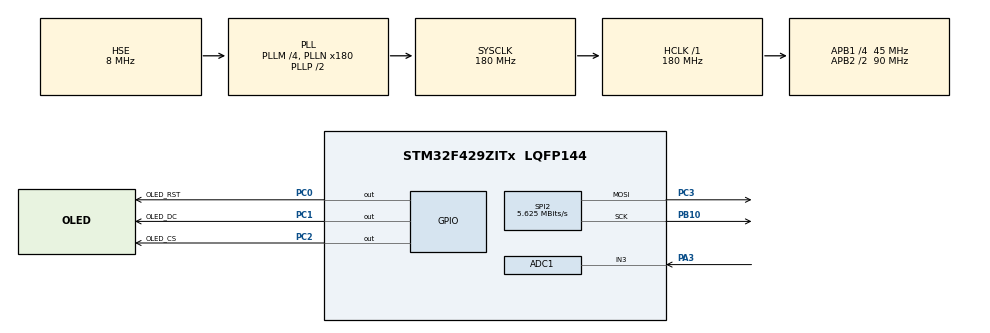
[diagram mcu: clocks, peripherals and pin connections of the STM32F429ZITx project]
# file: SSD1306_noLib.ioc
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ADC1.Channel-0\#ChannelRegularConversion=ADC_CHANNEL_3
ADC1.DiscontinuousConvMode=ENABLE
ADC1.NbrOfConversionFlag=1
ADC1.Rank-0\#ChannelRegularConversion=1
ADC1.SamplingTime-0\#ChannelRegularConversion=ADC_SAMPLETIME_3CYCLES
ADC1.ScanConvMode=ENABLE
ADC1.master=1
Mcu.Family=STM32F4
Mcu.Name=STM32F429ZITx
Mcu.Package=LQFP144
NVIC.PriorityGroup=NVIC_PRIORITYGROUP_4
PA3.Signal=ADCx_IN3
PB10.Mode=TX_Only_Simplex_Unidirect_Master
PB10.Signal=SPI2_SCK
PC0.GPIO_Label=OLED_RST
PC0.GPIO_PuPd=GPIO_PULLUP
PC0.GPIO_Speed=GPIO_SPEED_FREQ_HIGH
PC0.PinState=GPIO_PIN_SET
PC0.Signal=GPIO_Output
PC1.GPIO_Label=OLED_DC
PC1.GPIO_PuPd=GPIO_PULLUP
PC1.GPIO_Speed=GPIO_SPEED_FREQ_HIGH
PC1.PinState=GPIO_PIN_SET
PC1.Signal=GPIO_Output
PC2.GPIO_Label=OLED_CS
PC2.GPIO_PuPd=GPIO_PULLUP
PC2.GPIO_Speed=GPIO_SPEED_FREQ_HIGH
PC2.PinState=GPIO_PIN_SET
PC2.Signal=GPIO_Output
PC3.Mode=TX_Only_Simplex_Unidirect_Master
PC3.Signal=SPI2_MOSI
PH0/OSC_IN.Mode=HSE-External-Oscillator
PH0/OSC_IN.Signal=RCC_OSC_IN
PH1/OSC_OUT.Mode=HSE-External-Oscillator
PH1/OSC_OUT.Signal=RCC_OSC_OUT
ProjectManager.HeapSize=0x200
ProjectManager.StackSize=0x400
ProjectManager.TargetToolchain=STM32CubeIDE
RCC.48MHZClocksFreq_Value=90000000
RCC.AHBFreq_Value=180000000
RCC.APB1CLKDivider=RCC_HCLK_DIV4
RCC.APB1Freq_Value=45000000
RCC.APB1TimFreq_Value=90000000
RCC.APB2CLKDivider=RCC_HCLK_DIV2
RCC.APB2Freq_Value=90000000
RCC.APB2TimFreq_Value=180000000
RCC.CortexFreq_Value=180000000
RCC.HCLKFreq_Value=180000000
RCC.HSE_VALUE=8000000
RCC.HSI_VALUE=16000000
RCC.LSE_VALUE=32768
RCC.PLLM=4
RCC.PLLN=180
RCC.PLLSourceVirtual=RCC_PLLSOURCE_HSE
RCC.SYSCLKFreq_VALUE=180000000
RCC.SYSCLKSource=RCC_SYSCLKSOURCE_PLLCLK
RCC.VCOOutputFreq_Value=360000000
SH.ADCx_IN3.0=ADC1_IN3,IN3
SPI2.BaudRatePrescaler=SPI_BAUDRATEPRESCALER_8
SPI2.CalculateBaudRate=5.625 MBits/s
SPI2.Direction=SPI_DIRECTION_2LINES
SPI2.Mode=SPI_MODE_MASTER
SPI2.VirtualType=VM_MASTER
board=custom

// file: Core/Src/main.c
/* USER CODE BEGIN Header */
/**
  ******************************************************************************
  * @file           : main.c
  * @brief          : Main program body
  ******************************************************************************
  * @attention
  *
  * Copyright (c) 2023 STMicroelectronics.
  * All rights reserved.
  *
  * This software is licensed under terms that can be found in the LICENSE file
  * in the root directory of this software component.
  * If no LICENSE file comes with this software, it is provided AS-IS.
  *
  ******************************************************************************
  */
/* USER CODE END Header */
#include "main.h"

/* USER CODE BEGIN Includes */
#include "stdio.h"
#include "stdlib.h"
#include "string.h"
/* USER CODE END Includes */

ADC_HandleTypeDef hadc1;

SPI_HandleTypeDef hspi2;

/* USER CODE BEGIN PV */

typedef struct _point
  {
	  int x;
	  int y;
  }Point;

int i=1;
Point point[128];
int adcVal;

uint8_t buffer[128*8]=
{
		0xff, 0xff, 0xff, 0xff, 0xff, 0xff, 0xff, 0xff, 0xff, 0xff, 0xff, 0xff, 0xff, 0xff, 0xff, 0xff,
								0xff, 0xff, 0xff, 0xff, 0xff, 0xff, 0xff, 0xff, 0xff, 0xff, 0xff, 0xff, 0xff, 0xff, 0xff, 0xff,
								0xff, 0xff, 0xff, 0xff, 0xff, 0xff, 0xff, 0xff, 0xff, 0xff, 0xff, 0xff, 0xff, 0xff, 0xff, 0xff,
								0xff, 0xff, 0xff, 0xff, 0xff, 0xff, 0xff, 0xff, 0xff, 0xff, 0xff, 0xff, 0xff, 0xff, 0xff, 0xff,
								0xff, 0xff, 0xff, 0xff, 0xff, 0xff, 0xff, 0xff, 0xff, 0xff, 0xff, 0xff, 0xff, 0xff, 0xff, 0xff,
								0xff, 0xff, 0xff, 0xff, 0xff, 0xff, 0xff, 0xff, 0xff, 0xff, 0xff, 0xff, 0xff, 0xff, 0xff, 0xff,
								0xff, 0xff, 0xff, 0xff, 0xff, 0xff, 0xff, 0xff, 0xff, 0xff, 0xff, 0xff, 0xff, 0xff, 0xff, 0xff,
								0xff, 0xff, 0xff, 0xf7, 0xff, 0xfb, 0xff, 0xff, 0xff, 0xff, 0xff, 0xff, 0xff, 0xff, 0xff, 0xff,
								0xff, 0xff, 0xff, 0xf7, 0xff, 0xfb, 0xff, 0xff, 0xff, 0xff, 0xff, 0xff, 0xff, 0xff, 0xff, 0xff,
								0xff, 0xff, 0x7f, 0xf7, 0xff, 0xf7, 0xff, 0xff, 0xff, 0xff, 0xff, 0xff, 0xff, 0xff, 0xff, 0xff,
								0xff, 0xff, 0x7f, 0xf7, 0xff, 0xf7, 0xff, 0xff, 0xff, 0xff, 0xff, 0x3f, 0x3f, 0xff, 0xff, 0xff,
								0xff, 0xff, 0x3f, 0xf7, 0xff, 0xf7, 0xff, 0xff, 0xff, 0xff, 0xff, 0x3f, 0x3f, 0xff, 0xff, 0xff,
								0xff, 0xff, 0xbf, 0xff, 0xff, 0xef, 0xff, 0xff, 0xf7, 0xff, 0xfe, 0x3e, 0x3f, 0xff, 0xff, 0xff,
								0xff, 0xff, 0xcf, 0xff, 0xff, 0xef, 0xff, 0xff, 0xe3, 0xff, 0xfe, 0x3e, 0x3f, 0xff, 0xff, 0xff,
								0xff, 0xff, 0xe7, 0xff, 0xff, 0xef, 0xff, 0x8f, 0xe3, 0xff, 0xfe, 0x3e, 0x3f, 0xff, 0xff, 0xff,
								0xff, 0xff, 0xf9, 0xff, 0xff, 0xdf, 0xff, 0x8f, 0xe3, 0xff, 0x7c, 0x3c, 0x3f, 0xff, 0xff, 0xff,
								0xff, 0xff, 0xfe, 0xff, 0xff, 0xdf, 0xe7, 0x8f, 0xe3, 0xfc, 0x3c, 0x7c, 0x7f, 0xff, 0xff, 0xff,
								0xff, 0xff, 0xff, 0x7f, 0xff, 0xff, 0xcf, 0xc7, 0xe3, 0xf8, 0x3c, 0x7c, 0x7f, 0xdf, 0xff, 0xff,
								0xff, 0xff, 0xff, 0xff, 0x8f, 0xff, 0x9f, 0xc7, 0xe3, 0xf9, 0x3c, 0x7c, 0x7e, 0x0f, 0xff, 0xff,
								0xff, 0xff, 0xff, 0xff, 0x07, 0xfe, 0x7f, 0x86, 0x03, 0xf1, 0x3c, 0x7c, 0x7c, 0x27, 0xff, 0xff,
								0xff, 0xff, 0xff, 0xff, 0x07, 0xfe, 0xff, 0xc0, 0x03, 0xf3, 0x3c, 0x7c, 0x78, 0xe7, 0xff, 0xff,
								0xff, 0xff, 0xff, 0xff, 0x03, 0xff, 0xff, 0xc7, 0xc3, 0xe2, 0x38, 0x78, 0x79, 0xe7, 0xff, 0xff,
								0xff, 0xff, 0xff, 0xfe, 0x03, 0xff, 0xff, 0xc7, 0xc3, 0xe0, 0x78, 0x78, 0x79, 0xe7, 0xff, 0xff,
								0xff, 0xe0, 0x7f, 0xfe, 0x03, 0xff, 0xff, 0xc7, 0xc3, 0x00, 0xf8, 0x78, 0x71, 0xe7, 0xff, 0xff,
								0xff, 0xff, 0x9f, 0xfc, 0x01, 0xff, 0xff, 0xc7, 0xc3, 0x03, 0xf8, 0x78, 0x71, 0xcf, 0xff, 0xff,
								0xff, 0xff, 0xff, 0xfc, 0x01, 0xff, 0xff, 0xc7, 0xc3, 0xc7, 0xf0, 0x70, 0x71, 0x8f, 0xff, 0xff,
								0xff, 0xff, 0xff, 0xfc, 0x01, 0xff, 0xff, 0xc7, 0xc3, 0xc7, 0xe0, 0x60, 0x71, 0x9f, 0xff, 0xff,
								0xff, 0xff, 0xff, 0xf8, 0x00, 0xff, 0xff, 0xc7, 0xc7, 0xc3, 0xc0, 0x40, 0x71, 0x3f, 0xff, 0xff,
								0xff, 0xff, 0xff, 0xf8, 0x20, 0xff, 0xff, 0xef, 0xc7, 0xe3, 0xe8, 0x68, 0x70, 0x3f, 0xff, 0xff,
								0xff, 0xff, 0xff, 0xf8, 0x20, 0xff, 0xff, 0xff, 0xc7, 0xe1, 0xfc, 0x7c, 0x7c, 0xff, 0xff, 0xff,
								0xff, 0xff, 0x00, 0x00, 0x20, 0x00, 0x07, 0xff, 0xcf, 0xf0, 0x7e, 0xfe, 0xff, 0xff, 0xff, 0xff,
								0xff, 0xfe, 0x00, 0x00, 0x70, 0x00, 0x03, 0xff, 0xff, 0xfd, 0xff, 0xff, 0xcf, 0xfd, 0xff, 0xff,
								0xff, 0xfc, 0x00, 0x00, 0x70, 0x00, 0x01, 0xff, 0xff, 0xff, 0xff, 0xff, 0xcf, 0xf9, 0xff, 0xff,
								0xff, 0xfc, 0x00, 0x00, 0x70, 0x00, 0x01, 0xff, 0xff, 0xff, 0xff, 0xff, 0x8f, 0xf9, 0xff, 0xff,
								0xff, 0xfe, 0x00, 0x00, 0xf8, 0x00, 0x03, 0xff, 0xff, 0xff, 0xff, 0xff, 0x8f, 0xf9, 0xff, 0xff,
								0xff, 0xff, 0x00, 0x7f, 0xff, 0xf0, 0x07, 0xff, 0xff, 0xff, 0xff, 0xff, 0x9f, 0xf9, 0xff, 0xff,
								0xff, 0xff, 0x80, 0x3f, 0xff, 0xe0, 0x0f, 0xff, 0xff, 0xff, 0xff, 0xff, 0x9f, 0xf9, 0xff, 0xff,
								0xff, 0xff, 0xe0, 0x0f, 0xff, 0xc0, 0x3f, 0xff, 0xff, 0xff, 0x1f, 0xff, 0x1f, 0xf9, 0xff, 0xff,
								0xff, 0xff, 0xf0, 0x07, 0xff, 0x00, 0x7f, 0xfc, 0xff, 0xde, 0x0c, 0xff, 0x1f, 0xf9, 0xff, 0xff,
								0xff, 0xff, 0xfc, 0x03, 0xfe, 0x01, 0xff, 0xfc, 0xf3, 0x9c, 0xec, 0xe3, 0x1f, 0xf9, 0xff, 0xff,
								0xff, 0xff, 0xfe, 0x03, 0xfe, 0x03, 0xff, 0xfc, 0xe3, 0x9c, 0xec, 0xc7, 0x1f, 0x91, 0xff, 0xff,
								0xff, 0xff, 0xff, 0x03, 0xfe, 0x07, 0xff, 0xfc, 0x61, 0x99, 0xcc, 0x1f, 0x1f, 0x01, 0xff, 0xff,
								0xff, 0xff, 0xff, 0x07, 0xff, 0x07, 0xff, 0xfc, 0x61, 0xb9, 0xcc, 0x7f, 0x1e, 0x71, 0xff, 0xff,
								0xff, 0xff, 0xff, 0x07, 0x8f, 0x07, 0xff, 0xfc, 0x61, 0x39, 0x9c, 0x7e, 0x1c, 0xf1, 0xff, 0xff,
								0xff, 0xff, 0xfe, 0x06, 0x03, 0x03, 0xff, 0xfe, 0x49, 0x39, 0x3c, 0x7c, 0x1c, 0xf1, 0xff, 0xff,
								0xff, 0xff, 0x3e, 0x0c, 0x01, 0x83, 0xff, 0xfe, 0x58, 0x78, 0x3c, 0x79, 0x1c, 0xf1, 0xff, 0xff,
								0xff, 0xfe, 0x7e, 0x00, 0x00, 0x03, 0xff, 0xfe, 0x18, 0x7c, 0x7e, 0x7f, 0x1c, 0x01, 0xff, 0xff,
								0xff, 0xfc, 0xfc, 0x00, 0x00, 0x01, 0xff, 0xfe, 0x7c, 0x7f, 0xfe, 0xff, 0xbe, 0x03, 0xff, 0xff,
								0xff, 0xfb, 0xfc, 0x00, 0x20, 0x01, 0xff, 0xff, 0xfc, 0xff, 0xff, 0xff, 0xff, 0xff, 0xff, 0xff,
								0xff, 0xf3, 0xfc, 0x00, 0x70, 0x01, 0xff, 0xff, 0xff, 0xff, 0xff, 0xff, 0xff, 0xff, 0xff, 0xff,
								0xff, 0xe7, 0xf8, 0x01, 0xfc, 0x00, 0xff, 0xff, 0xff, 0xff, 0xff, 0xff, 0xff, 0xff, 0xff, 0xff,
								0xff, 0xcf, 0xf8, 0x03, 0xfe, 0x00, 0xff, 0xff, 0xff, 0xff, 0xff, 0xff, 0xff, 0xff, 0xff, 0xff,
								0xff, 0xff, 0xf8, 0x0f, 0xff, 0x80, 0xff, 0xff, 0xff, 0xff, 0xff, 0xff, 0xff, 0xff, 0xff, 0xff,
								0xff, 0xff, 0xf8, 0x3f, 0xff, 0xe0, 0xff, 0xff, 0xff, 0xff, 0xff, 0xff, 0xff, 0xff, 0xff, 0xff,
								0xff, 0xff, 0xfc, 0x7f, 0xff, 0xf1, 0xff, 0xff, 0xff, 0xff, 0xff, 0xff, 0xff, 0xff, 0xff, 0xff,
								0xff, 0xff, 0xff, 0xff, 0xff, 0xff, 0xff, 0xff, 0xff, 0xff, 0xff, 0xff, 0xff, 0xff, 0xff, 0xff,
								0xff, 0xff, 0xff, 0xff, 0xff, 0xff, 0xff, 0xff, 0xff, 0xff, 0xff, 0xff, 0xff, 0xff, 0xff, 0xff,
								0xff, 0xff, 0xff, 0xff, 0xff, 0xff, 0xff, 0xff, 0xff, 0xff, 0xff, 0xff, 0xff, 0xff, 0xff, 0xff,
								0xff, 0xff, 0xff, 0xff, 0xff, 0xff, 0xff, 0xff, 0xff, 0xff, 0xff, 0xff, 0xff, 0xff, 0xff, 0xff,
								0xff, 0xff, 0xff, 0xff, 0xff, 0xff, 0xff, 0xff, 0xff, 0xff, 0xff, 0xff, 0xff, 0xff, 0xff, 0xff,
								0xff, 0xff, 0xff, 0xff, 0xff, 0xff, 0xff, 0xff, 0xff, 0xff, 0xff, 0xff, 0xff, 0xff, 0xff, 0xff,
								0xff, 0xff, 0xff, 0xff, 0xff, 0xff, 0xff, 0xff, 0xff, 0xff, 0xff, 0xff, 0xff, 0xff, 0xff, 0xff,
								0xff, 0xff, 0xff, 0xff, 0xff, 0xff, 0xff, 0xff, 0xff, 0xff, 0xff, 0xff, 0xff, 0xff, 0xff, 0xff,
								0xff, 0xff, 0xff, 0xff, 0xff, 0xff, 0xff, 0xff, 0xff, 0xff, 0xff, 0xff, 0xff, 0xff, 0xff, 0xff
};

uint8_t init[10]={
		0xAE, // Display off
		  0x8D, // Charge pump
		  0x14,
		  0x20, // Memory mode
		  0x00, // Horizontal addressing
		  0xA1, // 0xA0/0xA1 flip horizontally
		  0xC8, // 0xC0/0xC8 flip vertically
		  //0xD9, // Set pre charge
		  //0xF1,
		  //0xDB, // Set vcom detect
		  0x40,
		  0x45,
		  0xAF  // Display on
};

uint8_t display[6]={
		0x21,
		0,
		127,
		0x22,
		0,
		7
};

/* USER CODE END PV */

void SystemClock_Config(void);
static void MX_GPIO_Init(void);
static void MX_ADC1_Init(void);
static void MX_SPI2_Init(void);

/* USER CODE BEGIN 0 */
void CS_Select()
{
	HAL_GPIO_WritePin(OLED_CS_GPIO_Port,OLED_CS_Pin,GPIO_PIN_RESET);
}

void CS_Deselect()
{
	HAL_GPIO_WritePin(OLED_CS_GPIO_Port,OLED_CS_Pin,GPIO_PIN_SET);
}

void Data_Select()
{
	HAL_GPIO_WritePin(OLED_DC_GPIO_Port,OLED_DC_Pin,GPIO_PIN_SET);
}

void Command_Select()
{
	HAL_GPIO_WritePin(OLED_DC_GPIO_Port,OLED_DC_Pin,GPIO_PIN_RESET);
}

void byteTransmit(uint8_t* ptr,int length)
{
	HAL_SPI_Transmit(&hspi2,ptr,length,100);
}

void initDisplay()
{
	Command_Select();
	CS_Select();
	byteTransmit(init,sizeof(init));
	CS_Deselect();
	Data_Select();
}

void displayBuffer()
{
	Data_Select();
	CS_Select();
	byteTransmit(buffer,sizeof(buffer));
	CS_Deselect();
}

signed char x0;
signed char y0;

void plotPoint(int x, int y) {
  int row = 63 - y;
  int col = x;
  int page = row>>3;
  //int pix_y=1<<(row-(page<<3)-1);

  int bit = row & 0x07;
  // Set correct bit in slice buffer
  buffer[page*128 + col] |= 1<<bit;
  //buffer[page*128+col]|=pix_y;
  displayBuffer();
}

void moveTo(int x1, int y1) {
  x0 = x1;
  y0 = y1;
}

void drawTo(int x1, int y1) {
  int sx, sy, e2, err;
  int dx = abs(x1 - x0);
  int dy = abs(y1 - y0);
  if (x0 < x1) sx = 1; else sx = -1;
  if (y0 < y1) sy = 1; else sy = -1;
  err = dx - dy;
  for (;;) {
    plotPoint(x0, y0);
    if (x0==x1 && y0==y1) return;
    e2 = err<<1;
    if (e2 > -dy) {
      err = err - dy;
      x0 = x0 + sx;
    }
    if (e2 < dx) {
      err = err + dx;
      y0 = y0 + sy;
    }
  }
  displayBuffer();
}

/* USER CODE END 0 */

int main(void)
{

  /* MCU Configuration--------------------------------------------------------*/

  /* Reset of all peripherals, Initializes the Flash interface and the Systick. */
  HAL_Init();

  /* Configure the system clock */
  SystemClock_Config();

  /* Initialize all configured peripherals */
  MX_GPIO_Init();
  MX_ADC1_Init();
  MX_SPI2_Init();
  /* USER CODE BEGIN 2 */
  initDisplay();

  Command_Select();
  CS_Select();
  byteTransmit(display,6);
  CS_Deselect();
  /* USER CODE END 2 */

  /* Infinite loop */
  /* USER CODE BEGIN WHILE */

  point[0].x=0;
  point[0].y=point[127].y;

  x0=point[0].x;
  y0=point[0].y;
  while (1)
  {
	  memset(buffer,0,128*8);

    /* USER CODE END WHILE */
	  do{
		  HAL_ADC_Start(&hadc1);
		  HAL_ADC_PollForConversion(&hadc1,HAL_MAX_DELAY);
		  int pixel_y=(int)HAL_ADC_GetValue(&hadc1)*64/4096;

		  point[i].x=i;
		  point[i].y=pixel_y;

		  for(int j=0;j<i;j++)
		  {
			  moveTo(point[j].x,point[j].y);
			  drawTo(point[j+1].x,point[j+1].y);
		  }

		  i++;
		  if(i==128)
		  {
			  i=0;
			  break;
		  }
	  	}while(1);
  }
}

void SystemClock_Config(void)
{
  RCC_OscInitTypeDef RCC_OscInitStruct = {0};
  RCC_ClkInitTypeDef RCC_ClkInitStruct = {0};

  /** Configure the main internal regulator output voltage
  */
  __HAL_RCC_PWR_CLK_ENABLE();
  __HAL_PWR_VOLTAGESCALING_CONFIG(PWR_REGULATOR_VOLTAGE_SCALE1);

  /** Initializes the RCC Oscillators according to the specified parameters
  * in the RCC_OscInitTypeDef structure.
  */
  RCC_OscInitStruct.OscillatorType = RCC_OSCILLATORTYPE_HSE;
  RCC_OscInitStruct.HSEState = RCC_HSE_ON;
  RCC_OscInitStruct.PLL.PLLState = RCC_PLL_ON;
  RCC_OscInitStruct.PLL.PLLSource = RCC_PLLSOURCE_HSE;
  RCC_OscInitStruct.PLL.PLLM = 4;
  RCC_OscInitStruct.PLL.PLLN = 180;
  RCC_OscInitStruct.PLL.PLLP = RCC_PLLP_DIV2;
  RCC_OscInitStruct.PLL.PLLQ = 4;
  if (HAL_RCC_OscConfig(&RCC_OscInitStruct) != HAL_OK)
  {
    Error_Handler();
  }

  /** Activate the Over-Drive mode
  */
  if (HAL_PWREx_EnableOverDrive() != HAL_OK)
  {
    Error_Handler();
  }

  /** Initializes the CPU, AHB and APB buses clocks
  */
  RCC_ClkInitStruct.ClockType = RCC_CLOCKTYPE_HCLK|RCC_CLOCKTYPE_SYSCLK
                              |RCC_CLOCKTYPE_PCLK1|RCC_CLOCKTYPE_PCLK2;
  RCC_ClkInitStruct.SYSCLKSource = RCC_SYSCLKSOURCE_PLLCLK;
  RCC_ClkInitStruct.AHBCLKDivider = RCC_SYSCLK_DIV1;
  RCC_ClkInitStruct.APB1CLKDivider = RCC_HCLK_DIV4;
  RCC_ClkInitStruct.APB2CLKDivider = RCC_HCLK_DIV2;

  if (HAL_RCC_ClockConfig(&RCC_ClkInitStruct, FLASH_LATENCY_5) != HAL_OK)
  {
    Error_Handler();
  }
}

static void MX_ADC1_Init(void)
{

  ADC_ChannelConfTypeDef sConfig = {0};

  /** Configure the global features of the ADC (Clock, Resolution, Data Alignment and number of conversion)
  */
  hadc1.Instance = ADC1;
  hadc1.Init.ClockPrescaler = ADC_CLOCK_SYNC_PCLK_DIV4;
  hadc1.Init.Resolution = ADC_RESOLUTION_12B;
  hadc1.Init.ScanConvMode = ENABLE;
  hadc1.Init.ContinuousConvMode = DISABLE;
  hadc1.Init.DiscontinuousConvMode = ENABLE;
  hadc1.Init.NbrOfDiscConversion = 1;
  hadc1.Init.ExternalTrigConvEdge = ADC_EXTERNALTRIGCONVEDGE_NONE;
  hadc1.Init.ExternalTrigConv = ADC_SOFTWARE_START;
  hadc1.Init.DataAlign = ADC_DATAALIGN_RIGHT;
  hadc1.Init.NbrOfConversion = 1;
  hadc1.Init.DMAContinuousRequests = DISABLE;
  hadc1.Init.EOCSelection = ADC_EOC_SINGLE_CONV;
  if (HAL_ADC_Init(&hadc1) != HAL_OK)
  {
    Error_Handler();
  }

  /** Configure for the selected ADC regular channel its corresponding rank in the sequencer and its sample time.
  */
  sConfig.Channel = ADC_CHANNEL_3;
  sConfig.Rank = 1;
  sConfig.SamplingTime = ADC_SAMPLETIME_3CYCLES;
  if (HAL_ADC_ConfigChannel(&hadc1, &sConfig) != HAL_OK)
  {
    Error_Handler();
  }

}

static void MX_SPI2_Init(void)
{

  /* SPI2 parameter configuration*/
  hspi2.Instance = SPI2;
  hspi2.Init.Mode = SPI_MODE_MASTER;
  hspi2.Init.Direction = SPI_DIRECTION_2LINES;
  hspi2.Init.DataSize = SPI_DATASIZE_8BIT;
  hspi2.Init.CLKPolarity = SPI_POLARITY_LOW;
  hspi2.Init.CLKPhase = SPI_PHASE_1EDGE;
  hspi2.Init.NSS = SPI_NSS_SOFT;
  hspi2.Init.BaudRatePrescaler = SPI_BAUDRATEPRESCALER_2;
  hspi2.Init.FirstBit = SPI_FIRSTBIT_MSB;
  hspi2.Init.TIMode = SPI_TIMODE_DISABLE;
  hspi2.Init.CRCCalculation = SPI_CRCCALCULATION_DISABLE;
  hspi2.Init.CRCPolynomial = 10;
  if (HAL_SPI_Init(&hspi2) != HAL_OK)
  {
    Error_Handler();
  }

}

static void MX_GPIO_Init(void)
{
  GPIO_InitTypeDef GPIO_InitStruct = {0};

  /* GPIO Ports Clock Enable */
  __HAL_RCC_GPIOH_CLK_ENABLE();
  __HAL_RCC_GPIOC_CLK_ENABLE();
  __HAL_RCC_GPIOA_CLK_ENABLE();
  __HAL_RCC_GPIOB_CLK_ENABLE();

  /*Configure GPIO pin Output Level */
  HAL_GPIO_WritePin(GPIOC, OLED_RST_Pin|OLED_DC_Pin|OLED_CS_Pin, GPIO_PIN_SET);

  /*Configure GPIO pins : OLED_RST_Pin OLED_DC_Pin OLED_CS_Pin */
  GPIO_InitStruct.Pin = OLED_RST_Pin|OLED_DC_Pin|OLED_CS_Pin;
  GPIO_InitStruct.Mode = GPIO_MODE_OUTPUT_PP;
  GPIO_InitStruct.Pull = GPIO_PULLUP;
  GPIO_InitStruct.Speed = GPIO_SPEED_FREQ_HIGH;
  HAL_GPIO_Init(GPIOC, &GPIO_InitStruct);

}

void Error_Handler(void)
{
  __disable_irq();
  while (1)
  {
  }
}
